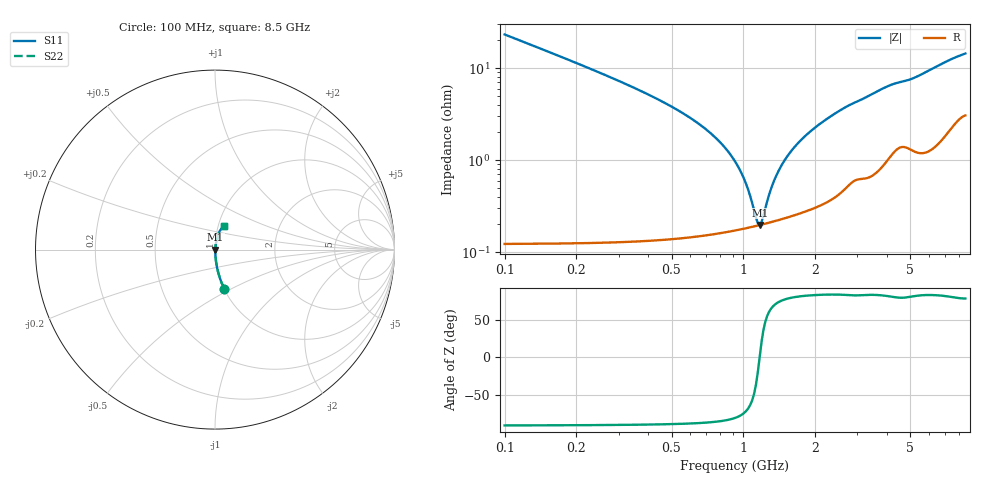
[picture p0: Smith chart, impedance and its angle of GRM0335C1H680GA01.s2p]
!Murata Part Number: GRM0335C1H680GA01
!These Parameters are Measured in Series Mode Connection
!Data Generated on Mar 30, 2021
!  o--ll--o
!Port1  Port2
!  o------o
!Operation Temp=25[degC], DC Bias Voltage=0[V]
!Freq. Start=100[MHz] Stop=9[GHz] 401[Steps]
# Hz S RI R 50
!Freq.(Hz) S11(Real) S11(Imag) S21(Real) S21(Imag) S12(Real) S12(Imag) S22(Real) S22(Imag)
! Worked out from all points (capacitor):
!   401 points, 100 MHz to 8.5 GHz, reference 50 ohm
!   read as one part in series: C = 68 pF near 142 MHz
!   lowest |Z| = 197 mohm at 1.171 GHz (marker M1)
!   series resonance near 1.169 GHz, so ESL is about 270 pH
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1e8  0.0523 -0.2199  0.9477 0.2199  0.9477 0.2199  0.0523 -0.2199
2.05e8  0.0133 -0.109  0.9867 0.109  0.9867 0.109  0.0133 -0.109
3.1e8  0.00616 -0.0696  0.9938 0.0696  0.9938 0.0696  0.00616 -0.0696
4.36e8  0.00346 -0.0459  0.9965 0.0459  0.9965 0.0459  0.00346 -0.0459
7.51e8  0.00189 -0.0182  0.9981 0.0182  0.9981 0.0182  0.00189 -0.0182
8.98e8  0.0018 -0.0106  0.9982 0.0106  0.9982 0.0106  0.0018 -0.0106
1.003e9  0.00183 -0.0061  0.9982 0.0061  0.9982 0.0061  0.00183 -0.0061
1.129e9  0.00192 -0.00137  0.9981 0.00137  0.9981 0.00137  0.00192 -0.00137
1.171e9  0.00197 7.68e-05  0.998 -7.68e-05  0.998 -7.68e-05  0.00197 7.68e-05
1.213e9  0.00201 0.00147  0.998 -0.00147  0.998 -0.00147  0.00201 0.00147
1.297e9  0.00212 0.00413  0.9979 -0.00413  0.9979 -0.00413  0.00212 0.00413
1.36e9  0.00221 0.00603  0.9978 -0.00603  0.9978 -0.00603  0.00221 0.00603
1.507e9  0.00245 0.0102  0.9975 -0.0102  0.9975 -0.0102  0.00245 0.0102
1.738e9  0.00291 0.0161  0.9971 -0.0161  0.9971 -0.0161  0.00291 0.0161
2.032e9  0.00362 0.0231  0.9964 -0.0231  0.9964 -0.0231  0.00362 0.0231
2.452e9  0.00507 0.0323  0.9949 -0.0323  0.9949 -0.0323  0.00507 0.0323
2.914e9  0.00762 0.0411  0.9924 -0.0411  0.9924 -0.0411  0.00762 0.0411
3.754e9  0.0113 0.0568  0.9887 -0.0568  0.9887 -0.0568  0.0113 0.0568
4.3e9  0.0166 0.065  0.9834 -0.065  0.9834 -0.065  0.0166 0.065
5.707e9  0.0192 0.085  0.9808 -0.085  0.9808 -0.085  0.0192 0.085
7.114e9  0.0317 0.1115  0.9683 -0.1115  0.9683 -0.1115  0.0317 0.1115
8.5e9  0.0476 0.1304  0.9524 -0.1304  0.9524 -0.1304  0.0476 0.1304
